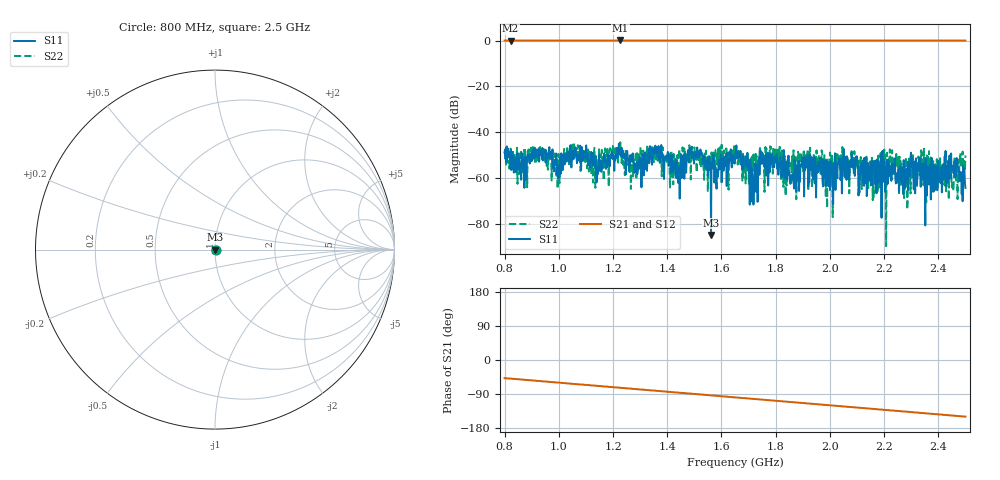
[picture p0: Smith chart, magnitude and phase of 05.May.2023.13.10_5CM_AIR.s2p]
!Keysight Technologies N9950B: A.12.38
!Date: Friday, 05 May 2023 13:10:57
!Timezone: (UTC-06:00) Central Time (US & Canada)
!Model: N9950B
!Serial: MY61131330
!GPS Latitude:
!GPS Longitude:
!GPS TimeStamp: 0001-01-01 00:00:00Z
!GPS Seconds Since Last Read: 0
!CHECKSUM:0202062429
!Correction: S11(ON U)S21(ON U)S12(ON U)S22(ON U)
!S2P File: Measurements:S11,S21,S12,S22:
# Hz S DB R 50
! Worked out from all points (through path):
!   1001 points, 800 MHz to 2.5 GHz, reference 50 ohm
!   highest |S21| = 0.03 dB at 1.227 GHz (marker M1); lowest = 0.0 dB at 822.1 MHz (marker M2)
!   group delay of S21, straight-line fit = 166 ps
!   lowest |S11| = -84.8 dB at 1.562 GHz (marker M3), VSWR 1.00, Z = 50 + j0.00577 ohm
!   |S11| at or under -10 dB: start of sweep to end of sweep
!   |S22| runs from -89.7 to -44.3 dB; largest |S21 - S12| = 0.0065
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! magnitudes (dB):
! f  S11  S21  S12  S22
! 800 MHz  -48.6  0.0  0.0  -48.5
! 822.1 MHz  -56.2  0.0  0.0  -47.1
! 1.084 GHz  -46.3  0.0  0.0  -49.4
! 1.145 GHz  -57.3  0.0  0.0  -52.4
! 1.227 GHz  -48.5  0.0  0.0  -44.3
! 1.266 GHz  -52.6  0.0  0.0  -64.7
! 1.368 GHz  -46.0  0.0  0.0  -48.3
! 1.439 GHz  -55.3  0.0  0.0  -56.1
! 1.485 GHz  -47.0  0.0  0.0  -49.4
! 1.562 GHz  -84.8  0.0  0.0  -59.0
! 1.65 GHz  -51.0  0.0  0.0  -52.1
! 1.713 GHz  -57.1  0.0  0.0  -55.5
! 1.752 GHz  -50.5  0.0  0.0  -52.9
! 1.859 GHz  -60.9  0.0  0.0  -62.4
! 1.934 GHz  -51.7  0.0  0.0  -64.3
! 1.99 GHz  -63.0  0.0  0.0  -73.0
! 2.027 GHz  -60.1  0.0  0.0  -49.8
! 2.167 GHz  -62.4  0.0  0.0  -54.0
! 2.218 GHz  -56.3  0.0  0.0  -54.6
! 2.359 GHz  -57.2  0.0  0.0  -50.3
! 2.43 GHz  -55.1  0.0  0.0  -54.1
! 2.5 GHz  -64.3  0.0  0.0  -50.1
